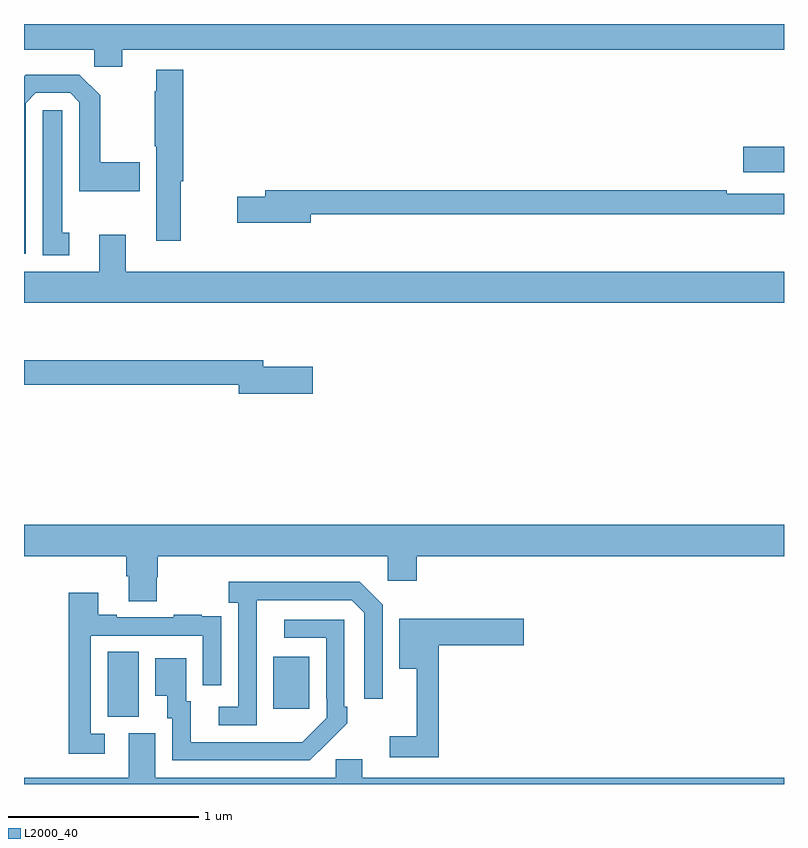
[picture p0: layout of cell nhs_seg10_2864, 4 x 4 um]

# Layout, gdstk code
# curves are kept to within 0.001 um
import gdstk
lib = gdstk.Library(unit=1e-6, precision=1e-09)
def R(c, l, rs):  # rectangles x0, y0, x1, y1
    for r in rs: c.add(gdstk.rectangle(r[:2], r[2:], *l))
def P(c, l, *ps):  # polygons
    for p in ps: c.add(gdstk.Polygon(p, *l))
L2000_40 = (2000, 40)

nhs_seg10_2864 = lib.new_cell('nhs_seg10_2864')
R(nhs_seg10_2864, L2000_40, [(267.44,1248.853,267.604,1249.196), (268.313,1248.897,268.501,1249.171), (270.786,1251.719,271,1251.854)])
P(nhs_seg10_2864, L2000_40, [(267.517,1252.364),(271,1252.364),(271,1252.5),(267,1252.5),(267,1252.364),(267.37,1252.364),(267.37,1252.274),(267.517,1252.274)],
  [(267.826,1251.672),(267.839,1251.672),(267.839,1252.258),(267.695,1252.258),(267.695,1252.145),(267.688,1252.145),(267.688,1251.856),(267.695,1251.856),(267.695,1251.36),(267.826,1251.36)],
  [(267.009,1252.083),(267.063,1252.137),(267.243,1252.137),(267.291,1252.089),(267.291,1251.62),(267.61,1251.62),(267.61,1251.773),(267.4,1251.773),(267.4,1252.124),(267.29,1252.234),(267.01,1252.234),(267,1252.224),(267,1251.291),(267.009,1251.291)],
  [(267.238,1251.402),(267.202,1251.402),(267.202,1252.047),(267.098,1252.047),(267.098,1251.282),(267.238,1251.282)],
  [(268.51,1251.498),(271,1251.498),(271,1251.606),(270.698,1251.606),(270.698,1251.626),(268.271,1251.626),(268.271,1251.59),(268.122,1251.59),(268.122,1251.455),(268.51,1251.455)],
  [(271,1251.196),(267.535,1251.196),(267.535,1251.391),(267.395,1251.391),(267.395,1251.196),(267,1251.196),(267,1251.032),(271,1251.032)],
  [(268.519,1250.697),(268.258,1250.697),(268.258,1250.731),(267,1250.731),(267,1250.602),(268.13,1250.602),(268.13,1250.555),(268.519,1250.555)],
  [(267.699,1249.587),(267.704,1249.587),(267.704,1249.7),(268.914,1249.7),(268.914,1249.569),(269.066,1249.569),(269.066,1249.7),(271,1249.7),(271,1249.864),(267,1249.864),(267,1249.7),(267.539,1249.7),(267.539,1249.594),(267.551,1249.594),(267.551,1249.462),(267.699,1249.462)],
  [(268.224,1249.267),(268.225,1249.467),(268.725,1249.467),(268.791,1249.401),(268.791,1248.948),(268.887,1248.948),(268.887,1249.443),(268.766,1249.564),(268.077,1249.564),(268.077,1249.454),(268.128,1249.454),(268.128,1248.906),(268.026,1248.906),(268.026,1248.81),(268.224,1248.81)],
  [(267.424,1248.765),(267.351,1248.765),(267.351,1249.281),(267.942,1249.281),(267.942,1249.02),(268.038,1249.02),(268.038,1249.274),(268.037,1249.274),(268.037,1249.383),(267.935,1249.383),(267.935,1249.39),(267.787,1249.39),(267.787,1249.377),(267.487,1249.377),(267.487,1249.39),(267.391,1249.39),(267.391,1249.507),(267.235,1249.507),(267.235,1248.66),(267.424,1248.66)],
  [(269.183,1249.229),(269.629,1249.229),(269.629,1249.371),(268.976,1249.371),(268.976,1249.106),(269.066,1249.106),(269.066,1248.751),(268.926,1248.751),(268.926,1248.642),(269.183,1248.642)],
  [(268.595,1248.715),(268.596,1248.714),(268.701,1248.819),(268.701,1248.907),(268.686,1248.907),(268.686,1249.365),(268.371,1249.365),(268.371,1249.269),(268.59,1249.269),(268.59,1248.949),(268.593,1248.949),(268.593,1248.849),(268.465,1248.721),(267.877,1248.72),(267.877,1248.936),(267.853,1248.936),(267.853,1249.162),(267.692,1249.162),(267.692,1248.965),(267.755,1248.965),(267.755,1248.846),(267.78,1248.846),(267.78,1248.624),(268.504,1248.624)],
  [(268.641,1248.63),(268.641,1248.532),(267.691,1248.532),(267.691,1248.768),(267.551,1248.768),(267.551,1248.532),(267,1248.532),(267,1248.5),(271,1248.5),(271,1248.532),(268.78,1248.532),(268.78,1248.63)])

lib.write_gds('nhs_seg10_2864.gds')
